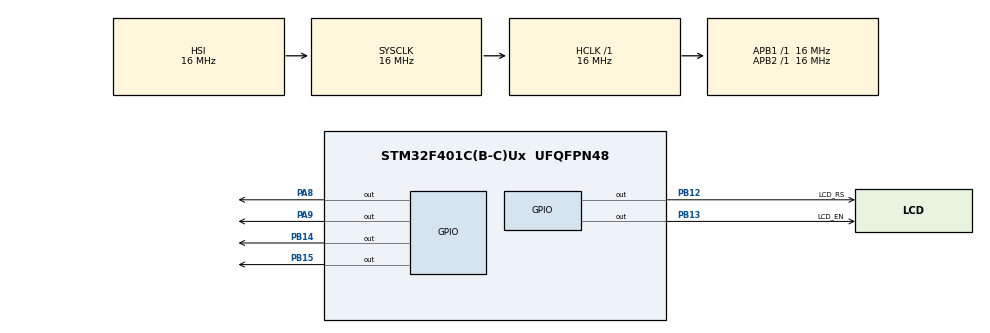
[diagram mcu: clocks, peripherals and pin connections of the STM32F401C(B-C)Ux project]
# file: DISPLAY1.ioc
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Mcu.Family=STM32F4
Mcu.Name=STM32F401C(B-C)Ux
Mcu.Package=UFQFPN48
NVIC.PriorityGroup=NVIC_PRIORITYGROUP_4
PA8.Signal=GPIO_Output
PA9.Signal=GPIO_Output
PB12.GPIO_Label=LCD_RS
PB12.Signal=GPIO_Output
PB13.GPIO_Label=LCD_EN
PB13.Signal=GPIO_Output
PB14.Signal=GPIO_Output
PB15.Signal=GPIO_Output
ProjectManager.HeapSize=0x200
ProjectManager.StackSize=0x400
ProjectManager.TargetToolchain=STM32CubeIDE
RCC.AHBFreq_Value=16000000
RCC.APB1Freq_Value=16000000
RCC.APB2Freq_Value=16000000
RCC.CortexFreq_Value=16000000
RCC.HSE_VALUE=25000000
RCC.HSI_VALUE=16000000
RCC.LSE_VALUE=32768
RCC.SYSCLKFreq_VALUE=16000000
RCC.VCOOutputFreq_Value=192000000
board=custom

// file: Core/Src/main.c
/* USER CODE BEGIN Header */
/**
  ******************************************************************************
  * @file           : main.c
  * @brief          : Main program body
  ******************************************************************************
  * @attention
  *
  * Copyright (c) 2024 STMicroelectronics.
  * All rights reserved.
  *
  * This software is licensed under terms that can be found in the LICENSE file
  * in the root directory of this software component.
  * If no LICENSE file comes with this software, it is provided AS-IS.
  *
  ******************************************************************************
  */
/* USER CODE END Header */
#include "main.h"

/* USER CODE BEGIN Includes */
#include "lcd.h"

#include "stdio.h"
#include "stdint.h"
#include "stdlib.h"
#include "string.h"

/* USER CODE END Includes */

/* USER CODE BEGIN PV */
  uint16_t  contador=0;
  char texto[16]; //buffer para convertir a string
  float cont1=0;
/* USER CODE END PV */

void SystemClock_Config(void);
static void MX_GPIO_Init(void);

int main(void)
{

  /* MCU Configuration--------------------------------------------------------*/

  /* Reset of all peripherals, Initializes the Flash interface and the Systick. */
  HAL_Init();

  /* Configure the system clock */
  SystemClock_Config();

  /* Initialize all configured peripherals */
  MX_GPIO_Init();
  /* USER CODE BEGIN 2 */
  Lcd_Init(); //iniia el lcd
  Lcd_Cmd(_LCD_CLEAR); //limpia la pantalla
  Lcd_Cmd(_LCD_CURSOR_OFF); //esconde el curso

  Lcd_Chr(1, 5,'1');
  //Lcd_Chr_Cp('v');
//VOLTS
  Lcd_Text_Cp(" volts");
  Lcd_Text(2,1, "ESTUDIEN POR FAVOR");

  /* USER CODE END 2 */

  /* Infinite loop */
  /* USER CODE BEGIN WHILE */
  while (1)
  {
	sprintf(texto,"contador=%0000d",contador);
	Lcd_Text(4, 5,texto );

	 sprintf(texto,"float=%4.1f",cont1);
		Lcd_Text(3, 1,texto );

	contador++;
	if(contador>1000) contador=0;

	cont1=cont1+0.2;
	if(cont1>50)  cont1=0;

	HAL_Delay(200);

    /* USER CODE END WHILE */

  }
}

void SystemClock_Config(void)
{
  RCC_OscInitTypeDef RCC_OscInitStruct = {0};
  RCC_ClkInitTypeDef RCC_ClkInitStruct = {0};

  /** Configure the main internal regulator output voltage
  */
  __HAL_RCC_PWR_CLK_ENABLE();
  __HAL_PWR_VOLTAGESCALING_CONFIG(PWR_REGULATOR_VOLTAGE_SCALE2);

  /** Initializes the RCC Oscillators according to the specified parameters
  * in the RCC_OscInitTypeDef structure.
  */
  RCC_OscInitStruct.OscillatorType = RCC_OSCILLATORTYPE_HSI;
  RCC_OscInitStruct.HSIState = RCC_HSI_ON;
  RCC_OscInitStruct.HSICalibrationValue = RCC_HSICALIBRATION_DEFAULT;
  RCC_OscInitStruct.PLL.PLLState = RCC_PLL_NONE;
  if (HAL_RCC_OscConfig(&RCC_OscInitStruct) != HAL_OK)
  {
    Error_Handler();
  }

  /** Initializes the CPU, AHB and APB buses clocks
  */
  RCC_ClkInitStruct.ClockType = RCC_CLOCKTYPE_HCLK|RCC_CLOCKTYPE_SYSCLK
                              |RCC_CLOCKTYPE_PCLK1|RCC_CLOCKTYPE_PCLK2;
  RCC_ClkInitStruct.SYSCLKSource = RCC_SYSCLKSOURCE_HSI;
  RCC_ClkInitStruct.AHBCLKDivider = RCC_SYSCLK_DIV1;
  RCC_ClkInitStruct.APB1CLKDivider = RCC_HCLK_DIV1;
  RCC_ClkInitStruct.APB2CLKDivider = RCC_HCLK_DIV1;

  if (HAL_RCC_ClockConfig(&RCC_ClkInitStruct, FLASH_LATENCY_0) != HAL_OK)
  {
    Error_Handler();
  }
}

static void MX_GPIO_Init(void)
{
  GPIO_InitTypeDef GPIO_InitStruct = {0};

  /* GPIO Ports Clock Enable */
  __HAL_RCC_GPIOB_CLK_ENABLE();
  __HAL_RCC_GPIOA_CLK_ENABLE();

  /*Configure GPIO pin Output Level */
  HAL_GPIO_WritePin(GPIOB, LCD_RS_Pin|LCD_EN_Pin|GPIO_PIN_14|GPIO_PIN_15, GPIO_PIN_RESET);

  /*Configure GPIO pin Output Level */
  HAL_GPIO_WritePin(GPIOA, GPIO_PIN_8|GPIO_PIN_9, GPIO_PIN_RESET);

  /*Configure GPIO pins : LCD_RS_Pin LCD_EN_Pin PB14 PB15 */
  GPIO_InitStruct.Pin = LCD_RS_Pin|LCD_EN_Pin|GPIO_PIN_14|GPIO_PIN_15;
  GPIO_InitStruct.Mode = GPIO_MODE_OUTPUT_PP;
  GPIO_InitStruct.Pull = GPIO_NOPULL;
  GPIO_InitStruct.Speed = GPIO_SPEED_FREQ_LOW;
  HAL_GPIO_Init(GPIOB, &GPIO_InitStruct);

  /*Configure GPIO pins : PA8 PA9 */
  GPIO_InitStruct.Pin = GPIO_PIN_8|GPIO_PIN_9;
  GPIO_InitStruct.Mode = GPIO_MODE_OUTPUT_PP;
  GPIO_InitStruct.Pull = GPIO_NOPULL;
  GPIO_InitStruct.Speed = GPIO_SPEED_FREQ_LOW;
  HAL_GPIO_Init(GPIOA, &GPIO_InitStruct);

}

void Error_Handler(void)
{
  __disable_irq();
  while (1)
  {
  }
}
